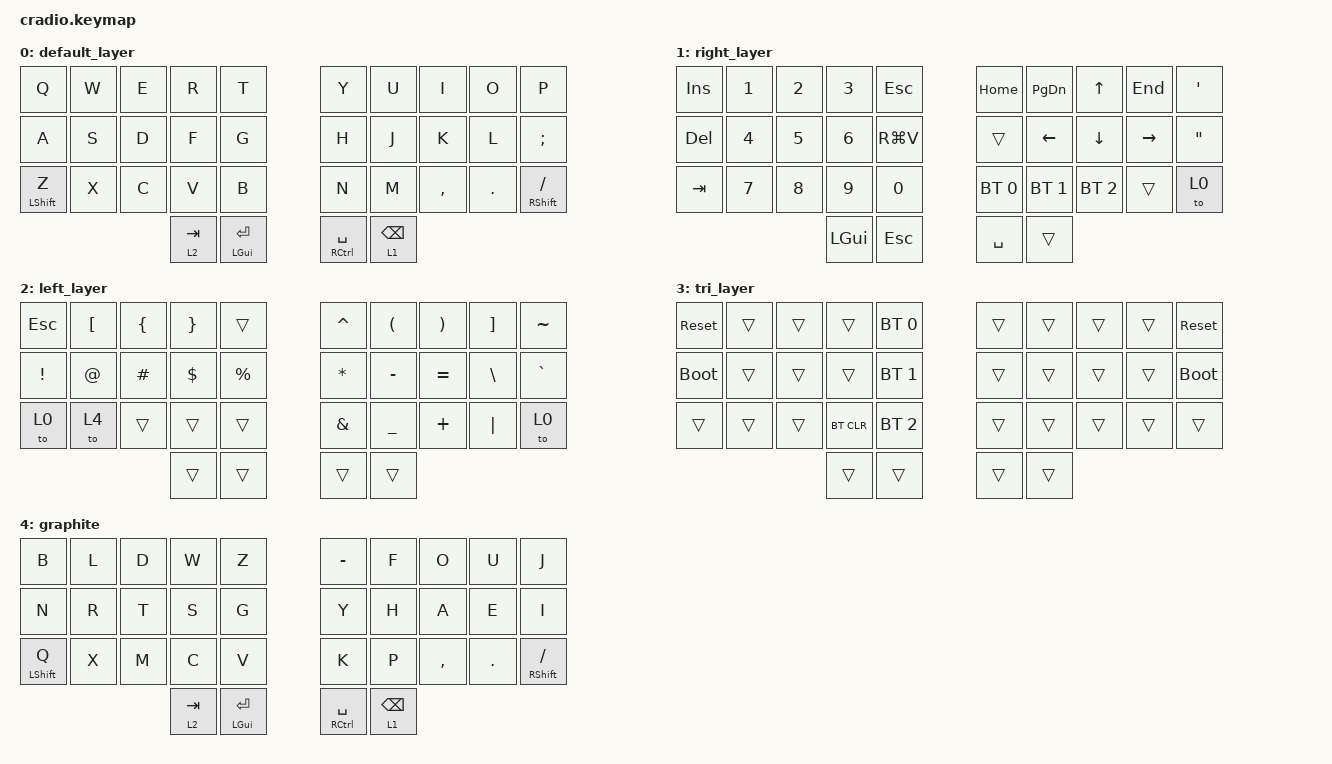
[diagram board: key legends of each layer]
// Copyright (c) 2022 The ZMK Contributors
// SPDX-License-Identifier: MIT

#define ZMK_POINTING_DEFAULT_MOVE_VAL 1500  // default: 600
#define ZMK_POINTING_DEFAULT_SCRL_VAL 20    // default: 10

#include <behaviors.dtsi>
#include <dt-bindings/zmk/bt.h>
#include <dt-bindings/zmk/keys.h>

/ {
    behaviors {
        ht: hold_tap {
            compatible = "zmk,behavior-hold-tap";
            #binding-cells = <2>;
            flavor = "tap-preferred";
            tapping-term-ms = <220>;
            quick-tap-ms = <150>;
            require-prior-idle-ms = <100>;
            bindings = <&kp>, <&kp>;
        };
    };

    conditional_layers {
        compatible = "zmk,conditional-layers";

        tri_layer {
            if-layers = <1 2>;
            then-layer = <3>;
        };
    };

    keymap {
        compatible = "zmk,keymap";

        default_layer {
            bindings = <
&kp Q             &kp W  &kp E  &kp R      &kp T                 &kp Y            &kp U       &kp I      &kp O    &kp P
&kp A             &kp S  &kp D  &kp F      &kp G                 &kp H            &kp J       &kp K      &kp L    &kp SEMICOLON
&ht LEFT_SHIFT Z  &kp X  &kp C  &kp V      &kp B                 &kp N            &kp M       &kp COMMA  &kp DOT  &ht RIGHT_SHIFT FSLH
                                &lt 2 TAB  &ht LEFT_GUI ENTER    &ht RCTRL SPACE  &lt 1 BSPC
            >;
        };

        right_layer {
            bindings = <
&kp INS  &kp N1  &kp N2  &kp N3        &kp ESCAPE    &kp HOME      &kp PG_DN       &kp UP_ARROW    &kp END          &kp APOSTROPHE
&kp DEL  &kp N4  &kp N5  &kp N6        &kp RG(V)     &trans        &kp LEFT_ARROW  &kp DOWN_ARROW  &kp RIGHT_ARROW  &kp DOUBLE_QUOTES
&kp TAB  &kp N7  &kp N8  &kp N9        &kp N0        &bt BT_SEL 0  &bt BT_SEL 1    &bt BT_SEL 2    &trans           &to 0
                         &kp LEFT_GUI  &kp ESC       &kp SPACE     &trans
            >;
        };

        left_layer {
            bindings = <
&kp ESC   &kp LBKT  &kp LBRC  &kp RBRC  &trans       &kp CARET  &kp LPAR   &kp RPAR   &kp RBKT  &kp TILDE
&kp EXCL  &kp AT    &kp HASH  &kp DLLR  &kp PRCNT    &kp ASTRK  &kp MINUS  &kp EQUAL  &kp BSLH  &kp GRAVE
&to 0     &to 4     &trans    &trans    &trans       &kp AMPS   &kp UNDER  &kp PLUS   &kp PIPE  &to 0
                              &trans    &trans       &trans     &trans
            >;
        };

        tri_layer {
            bindings = <
&sys_reset   &trans  &trans  &trans      &bt BT_SEL 0    &trans  &trans  &trans  &trans  &sys_reset
&bootloader  &trans  &trans  &trans      &bt BT_SEL 1    &trans  &trans  &trans  &trans  &bootloader
&trans       &trans  &trans  &bt BT_CLR  &bt BT_SEL 2    &trans  &trans  &trans  &trans  &trans
                             &trans      &trans          &trans  &trans
            >;
        };

        graphite {
            bindings = <
&kp B             &kp L  &kp D  &kp W      &kp Z                 &kp MINUS        &kp F       &kp O      &kp U    &kp J
&kp N             &kp R  &kp T  &kp S      &kp G                 &kp Y            &kp H       &kp A      &kp E    &kp I
&ht LEFT_SHIFT Q  &kp X  &kp M  &kp C      &kp V                 &kp K            &kp P       &kp COMMA  &kp DOT  &ht RIGHT_SHIFT FSLH
                                &lt 2 TAB  &ht LEFT_GUI ENTER    &ht RCTRL SPACE  &lt 1 BSPC
            >;
        };
    };
};
